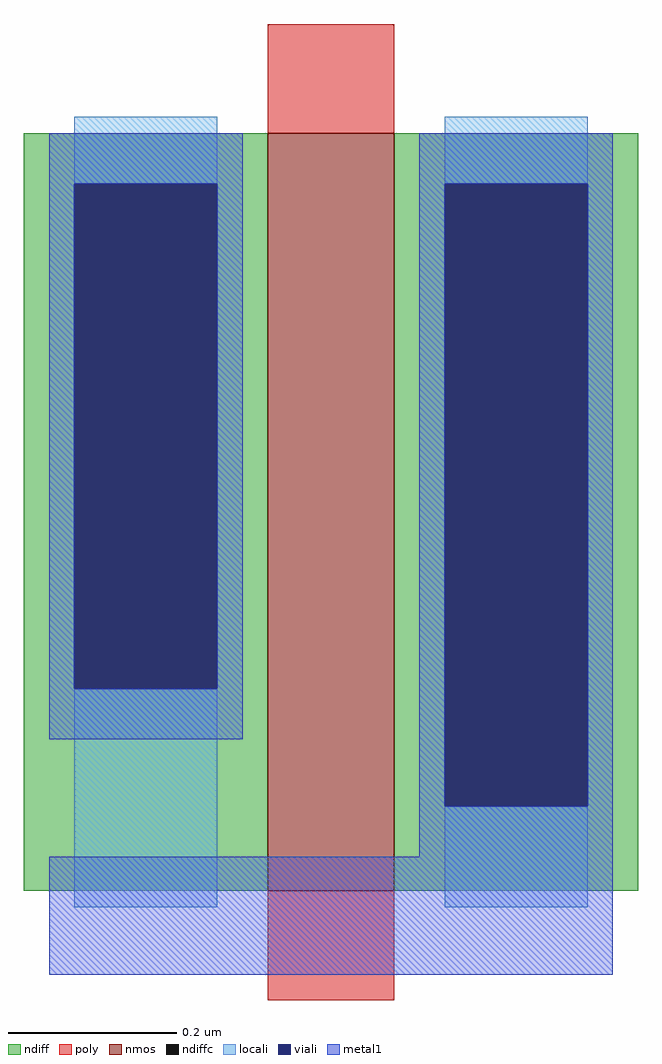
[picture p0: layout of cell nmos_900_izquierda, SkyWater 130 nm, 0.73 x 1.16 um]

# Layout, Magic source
magic
tech sky130A
magscale 1 2
<< nmos >>
rect -15 -96 15 84
<< ndiff >>
rect -73 72 -15 84
rect -73 -48 -61 72
rect -27 -48 -15 72
rect -73 -96 -15 -48
rect 15 72 73 84
rect 15 -76 27 72
rect 61 -76 73 72
rect 15 -96 73 -76
<< ndiffc >>
rect -61 -48 -27 72
rect 27 -76 61 72
<< poly >>
rect -15 84 15 110
rect -15 -122 15 -96
<< locali >>
rect -61 72 -27 88
rect -61 -100 -27 -48
rect 27 72 61 88
rect 27 -100 61 -76
<< viali >>
rect -61 -48 -27 72
rect 27 -76 61 72
<< metal1 >>
rect -67 72 -21 84
rect -67 -48 -61 72
rect -27 -48 -21 72
rect -67 -60 -21 -48
rect 21 72 67 84
rect 21 -76 27 72
rect 61 -76 67 72
rect 21 -88 67 -76
rect -67 -116 67 -88
<< properties >>
string gencell sky130_fd_pr__nfet_01v8
string parameters w 0.9 l 0.150 m 1 nf 1 diffcov 100 polycov 100 guard 0 glc 0 grc 0 gtc 0 gbc 0 tbcov 100 rlcov 100 topc 0 botc 0 poverlap 0 doverlap 1 lmin 0.15 wmin 0.42 compatible {sky130_fd_pr__nfet_01v8 sky130_fd_pr__nfet_01v8_lvt  sky130_fd_bs_flash__special_sonosfet_star  sky130_fd_pr__nfet_g5v0d10v5 sky130_fd_pr__nfet_05v0_nvt} full_metal 0 viasrc 100 viadrn 100 viagate 100 viagb 0 viagr 0 viagl 0 viagt 0
string library sky130
<< end >>
